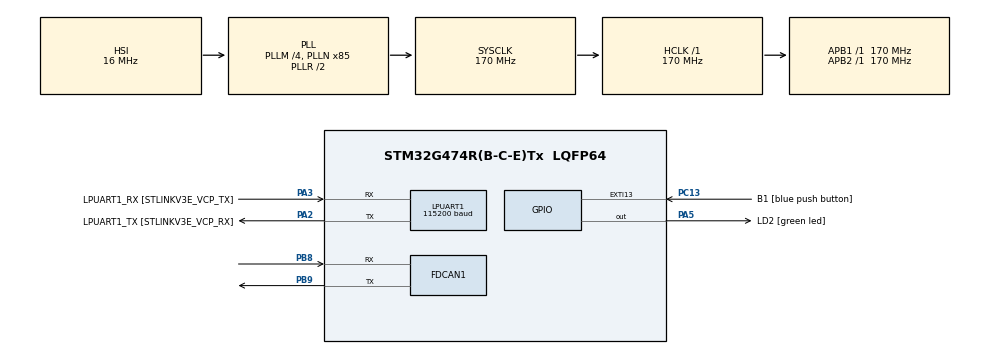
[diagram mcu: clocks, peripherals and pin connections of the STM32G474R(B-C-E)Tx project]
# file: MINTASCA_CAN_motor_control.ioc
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FDCAN1.CalculateBaudRateNominal=999999
FDCAN1.CalculateTimeBitNominal=1000
FDCAN1.CalculateTimeQuantumNominal=58.82352941176471
FDCAN1.ClockDivider=FDCAN_CLOCK_DIV1
FDCAN1.NominalPrescaler=10
FDCAN1.NominalTimeSeg1=13
FDCAN1.NominalTimeSeg2=3
LPUART1.BaudRate=115200
Mcu.Family=STM32G4
Mcu.Name=STM32G474R(B-C-E)Tx
Mcu.Package=LQFP64
NVIC.EXTI15_10_IRQn=true\:0\:0\:false\:false\:true\:true\:true\:true
NVIC.FDCAN1_IT0_IRQn=true\:0\:0\:false\:false\:true\:true\:true\:true
NVIC.FDCAN1_IT1_IRQn=true\:0\:0\:false\:false\:true\:true\:true\:true
NVIC.LPUART1_IRQn=true\:0\:0\:false\:false\:true\:true\:true\:true
NVIC.PriorityGroup=NVIC_PRIORITYGROUP_4
PA13.GPIO_Label=T_SWDIO
PA13.Signal=SYS_JTMS-SWDIO
PA14.GPIO_Label=T_SWCLK
PA14.Signal=SYS_JTCK-SWCLK
PA2.GPIO_Label=LPUART1_TX [STLINKV3E_VCP_RX]
PA2.Mode=Asynchronous
PA2.Signal=LPUART1_TX
PA3.GPIO_Label=LPUART1_RX [STLINKV3E_VCP_TX]
PA3.Mode=Asynchronous
PA3.Signal=LPUART1_RX
PA5.GPIO_Label=LD2 [green led]
PA5.Signal=GPIO_Output
PB3.GPIO_Label=T_SWO
PB3.Signal=SYS_JTDO-SWO
PB8-BOOT0.Mode=FDCAN_Activate
PB8-BOOT0.Signal=FDCAN1_RX
PB9.Mode=FDCAN_Activate
PB9.Signal=FDCAN1_TX
PC13.GPIO_Label=B1 [blue push button]
PC13.Signal=GPXTI13
PC14-OSC32_IN.GPIO_Label=RCC_OSC32_IN
PC14-OSC32_IN.Signal=RCC_OSC32_IN
PC15-OSC32_OUT.GPIO_Label=RCC_OSC32_OUT
PC15-OSC32_OUT.Signal=RCC_OSC32_OUT
PF0-OSC_IN.GPIO_Label=RCC_OSC_IN
PF0-OSC_IN.Signal=RCC_OSC_IN
PF1-OSC_OUT.GPIO_Label=RCC_OSC_OUT
PF1-OSC_OUT.Signal=RCC_OSC_OUT
ProjectManager.HeapSize=0x200
ProjectManager.StackSize=0x400
ProjectManager.TargetToolchain=STM32CubeIDE
RCC.ADC12Freq_Value=170000000
RCC.ADC345Freq_Value=170000000
RCC.AHBFreq_Value=170000000
RCC.APB1Freq_Value=170000000
RCC.APB1TimFreq_Value=170000000
RCC.APB2Freq_Value=170000000
RCC.APB2TimFreq_Value=170000000
RCC.CortexFreq_Value=170000000
RCC.EXTERNAL_CLOCK_VALUE=12288000
RCC.HCLKFreq_Value=170000000
RCC.HSE_VALUE=24000000
RCC.HSI48_VALUE=48000000
RCC.HSI_VALUE=16000000
RCC.LSE_VALUE=32768
RCC.PLLM=RCC_PLLM_DIV4
RCC.PLLN=85
RCC.RTCClockSelection=RCC_RTCCLKSOURCE_LSE
RCC.SYSCLKFreq_VALUE=170000000
RCC.SYSCLKSource=RCC_SYSCLKSOURCE_PLLCLK
RCC.USBFreq_Value=170000000
RCC.VCOOutputFreq_Value=340000000
VP_SYS_VS_DBSignals.Mode=DisableDeadBatterySignals
board=NUCLEO-G474RE

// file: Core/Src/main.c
/* USER CODE BEGIN Header */
/**
  ******************************************************************************
  * @file           : main.c
  * @brief          : Main program body
  ******************************************************************************
  * @attention
  *
  * Copyright (c) 2025 STMicroelectronics.
  * All rights reserved.
  *
  * This software is licensed under terms that can be found in the LICENSE file
  * in the root directory of this software component.
  * If no LICENSE file comes with this software, it is provided AS-IS.
  *
  ******************************************************************************
  */
/* USER CODE END Header */
#include "main.h"

/* USER CODE BEGIN Includes */
#include <string.h> // memset, strlen 등 사용을 위해 추가
#include <stdio.h>  // sscanf 사용을 위해 추가
/* USER CODE END Includes */

FDCAN_HandleTypeDef hfdcan1;

UART_HandleTypeDef hlpuart1;

/* USER CODE BEGIN PV */
FDCAN_RxHeaderTypeDef RxHeader;
uint8_t CANRxData[8];
FDCAN_TxHeaderTypeDef TxHeader;
uint8_t CANTxData[8];

uint8_t LPUARTRxData;

#define UART_RX_BUFFER_SIZE 100
uint8_t uart_rx_buffer[UART_RX_BUFFER_SIZE];
uint16_t uart_rx_index = 0;
volatile uint8_t command_received_flag = 0;
/* USER CODE END PV */

void SystemClock_Config(void);
static void MX_GPIO_Init(void);
static void MX_FDCAN1_Init(void);
static void MX_LPUART1_UART_Init(void);
/* USER CODE BEGIN PFP */
static void FDCAN_Config(void);
/* USER CODE END PFP */

int main(void)
{

  /* MCU Configuration--------------------------------------------------------*/

  /* Reset of all peripherals, Initializes the Flash interface and the Systick. */
  HAL_Init();

  /* Configure the system clock */
  SystemClock_Config();

  /* Initialize all configured peripherals */
  MX_GPIO_Init();
  MX_FDCAN1_Init();
  MX_LPUART1_UART_Init();
  /* USER CODE BEGIN 2 */
  FDCAN_Config();
  HAL_UART_Receive_IT(&hlpuart1, &LPUARTRxData, 1);
  /* USER CODE END 2 */

  /* Infinite loop */
  /* USER CODE BEGIN WHILE */
  while (1)
  {
    if (command_received_flag)
    {
      command_received_flag = 0; // 플래그 초기화

      unsigned int id, dlc;
      unsigned int data[8] = {0};

      // sscanf를 사용하여 문자열 파싱
      // 예: "1A0 8 11 22 33 44 55 66 77 88"
      int parsed_count = sscanf((char*)uart_rx_buffer, "%x %u %x %x %x %x %x %x %x %x",
                                &id, &dlc, &data[0], &data[1], &data[2], &data[3],
                                &data[4], &data[5], &data[6], &data[7]);

      // 최소 ID와 DLC는 파싱되어야 함 (parsed_count >= 2)
      if (parsed_count >= 2 && dlc <= 8)
      {
        // FDCAN TxHeader 설정
        TxHeader.Identifier = id;
        TxHeader.IdType = FDCAN_STANDARD_ID;
        TxHeader.TxFrameType = FDCAN_DATA_FRAME;

        // DLC 값에 따라 DataLength 설정
        switch(dlc) {
            case 0: TxHeader.DataLength = FDCAN_DLC_BYTES_0; break;
            case 1: TxHeader.DataLength = FDCAN_DLC_BYTES_1; break;
            case 2: TxHeader.DataLength = FDCAN_DLC_BYTES_2; break;
            case 3: TxHeader.DataLength = FDCAN_DLC_BYTES_3; break;
            case 4: TxHeader.DataLength = FDCAN_DLC_BYTES_4; break;
            case 5: TxHeader.DataLength = FDCAN_DLC_BYTES_5; break;
            case 6: TxHeader.DataLength = FDCAN_DLC_BYTES_6; break;
            case 7: TxHeader.DataLength = FDCAN_DLC_BYTES_7; break;
            case 8: TxHeader.DataLength = FDCAN_DLC_BYTES_8; break;
            default: TxHeader.DataLength = FDCAN_DLC_BYTES_0; break;
        }

        // 전송 데이터(CANTxData) 준비
        for (int i = 0; i < dlc; i++)
        {
          CANTxData[i] = (uint8_t)data[i];
        }

        // FDCAN 메시지 전송
        if (HAL_FDCAN_AddMessageToTxFifoQ(&hfdcan1, &TxHeader, CANTxData) == HAL_OK)
        {
          // 성공 시 LD2 LED 토글 (전송 확인용)
          HAL_GPIO_TogglePin(LD2_GPIO_Port, LD2_Pin);
          HAL_Delay(100);
          HAL_GPIO_TogglePin(LD2_GPIO_Port, LD2_Pin);
        }
      }

      // 다음 명령어를 위해 버퍼 초기화
      memset(uart_rx_buffer, 0, UART_RX_BUFFER_SIZE);
    }
    /* USER CODE END WHILE */

  }
}

void SystemClock_Config(void)
{
  RCC_OscInitTypeDef RCC_OscInitStruct = {0};
  RCC_ClkInitTypeDef RCC_ClkInitStruct = {0};

  /** Configure the main internal regulator output voltage
  */
  HAL_PWREx_ControlVoltageScaling(PWR_REGULATOR_VOLTAGE_SCALE1_BOOST);

  /** Initializes the RCC Oscillators according to the specified parameters
  * in the RCC_OscInitTypeDef structure.
  */
  RCC_OscInitStruct.OscillatorType = RCC_OSCILLATORTYPE_HSI;
  RCC_OscInitStruct.HSIState = RCC_HSI_ON;
  RCC_OscInitStruct.HSICalibrationValue = RCC_HSICALIBRATION_DEFAULT;
  RCC_OscInitStruct.PLL.PLLState = RCC_PLL_ON;
  RCC_OscInitStruct.PLL.PLLSource = RCC_PLLSOURCE_HSI;
  RCC_OscInitStruct.PLL.PLLM = RCC_PLLM_DIV4;
  RCC_OscInitStruct.PLL.PLLN = 85;
  RCC_OscInitStruct.PLL.PLLP = RCC_PLLP_DIV2;
  RCC_OscInitStruct.PLL.PLLQ = RCC_PLLQ_DIV2;
  RCC_OscInitStruct.PLL.PLLR = RCC_PLLR_DIV2;
  if (HAL_RCC_OscConfig(&RCC_OscInitStruct) != HAL_OK)
  {
    Error_Handler();
  }

  /** Initializes the CPU, AHB and APB buses clocks
  */
  RCC_ClkInitStruct.ClockType = RCC_CLOCKTYPE_HCLK|RCC_CLOCKTYPE_SYSCLK
                              |RCC_CLOCKTYPE_PCLK1|RCC_CLOCKTYPE_PCLK2;
  RCC_ClkInitStruct.SYSCLKSource = RCC_SYSCLKSOURCE_PLLCLK;
  RCC_ClkInitStruct.AHBCLKDivider = RCC_SYSCLK_DIV1;
  RCC_ClkInitStruct.APB1CLKDivider = RCC_HCLK_DIV1;
  RCC_ClkInitStruct.APB2CLKDivider = RCC_HCLK_DIV1;

  if (HAL_RCC_ClockConfig(&RCC_ClkInitStruct, FLASH_LATENCY_4) != HAL_OK)
  {
    Error_Handler();
  }
}

static void MX_FDCAN1_Init(void)
{

  hfdcan1.Instance = FDCAN1;
  hfdcan1.Init.ClockDivider = FDCAN_CLOCK_DIV1;
  hfdcan1.Init.FrameFormat = FDCAN_FRAME_CLASSIC;
  hfdcan1.Init.Mode = FDCAN_MODE_NORMAL;
  hfdcan1.Init.AutoRetransmission = DISABLE;
  hfdcan1.Init.TransmitPause = DISABLE;
  hfdcan1.Init.ProtocolException = DISABLE;
  hfdcan1.Init.NominalPrescaler = 10;
  hfdcan1.Init.NominalSyncJumpWidth = 1;
  hfdcan1.Init.NominalTimeSeg1 = 13;
  hfdcan1.Init.NominalTimeSeg2 = 3;
  hfdcan1.Init.DataPrescaler = 1;
  hfdcan1.Init.DataSyncJumpWidth = 1;
  hfdcan1.Init.DataTimeSeg1 = 1;
  hfdcan1.Init.DataTimeSeg2 = 1;
  hfdcan1.Init.StdFiltersNbr = 0;
  hfdcan1.Init.ExtFiltersNbr = 0;
  hfdcan1.Init.TxFifoQueueMode = FDCAN_TX_FIFO_OPERATION;
  if (HAL_FDCAN_Init(&hfdcan1) != HAL_OK)
  {
    Error_Handler();
  }

}

static void MX_LPUART1_UART_Init(void)
{

  hlpuart1.Instance = LPUART1;
  hlpuart1.Init.BaudRate = 115200;
  hlpuart1.Init.WordLength = UART_WORDLENGTH_8B;
  hlpuart1.Init.StopBits = UART_STOPBITS_1;
  hlpuart1.Init.Parity = UART_PARITY_NONE;
  hlpuart1.Init.Mode = UART_MODE_TX_RX;
  hlpuart1.Init.HwFlowCtl = UART_HWCONTROL_NONE;
  hlpuart1.Init.OneBitSampling = UART_ONE_BIT_SAMPLE_DISABLE;
  hlpuart1.Init.ClockPrescaler = UART_PRESCALER_DIV1;
  hlpuart1.AdvancedInit.AdvFeatureInit = UART_ADVFEATURE_NO_INIT;
  if (HAL_UART_Init(&hlpuart1) != HAL_OK)
  {
    Error_Handler();
  }
  if (HAL_UARTEx_SetTxFifoThreshold(&hlpuart1, UART_TXFIFO_THRESHOLD_1_8) != HAL_OK)
  {
    Error_Handler();
  }
  if (HAL_UARTEx_SetRxFifoThreshold(&hlpuart1, UART_RXFIFO_THRESHOLD_1_8) != HAL_OK)
  {
    Error_Handler();
  }
  if (HAL_UARTEx_DisableFifoMode(&hlpuart1) != HAL_OK)
  {
    Error_Handler();
  }

}

static void MX_GPIO_Init(void)
{
  GPIO_InitTypeDef GPIO_InitStruct = {0};

  /* GPIO Ports Clock Enable */
  __HAL_RCC_GPIOC_CLK_ENABLE();
  __HAL_RCC_GPIOF_CLK_ENABLE();
  __HAL_RCC_GPIOA_CLK_ENABLE();
  __HAL_RCC_GPIOB_CLK_ENABLE();

  /*Configure GPIO pin Output Level */
  HAL_GPIO_WritePin(LD2_GPIO_Port, LD2_Pin, GPIO_PIN_RESET);

  /*Configure GPIO pin : B1_Pin */
  GPIO_InitStruct.Pin = B1_Pin;
  GPIO_InitStruct.Mode = GPIO_MODE_IT_RISING;
  GPIO_InitStruct.Pull = GPIO_NOPULL;
  HAL_GPIO_Init(B1_GPIO_Port, &GPIO_InitStruct);

  /*Configure GPIO pin : LD2_Pin */
  GPIO_InitStruct.Pin = LD2_Pin;
  GPIO_InitStruct.Mode = GPIO_MODE_OUTPUT_PP;
  GPIO_InitStruct.Pull = GPIO_NOPULL;
  GPIO_InitStruct.Speed = GPIO_SPEED_FREQ_LOW;
  HAL_GPIO_Init(LD2_GPIO_Port, &GPIO_InitStruct);

  /* EXTI interrupt init*/
  HAL_NVIC_SetPriority(EXTI15_10_IRQn, 0, 0);
  HAL_NVIC_EnableIRQ(EXTI15_10_IRQn);

}

/* USER CODE BEGIN 4 */

/**
 * @brief FDCAN1 설정
 */
static void FDCAN_Config(void) {
    FDCAN_FilterTypeDef sFilterConfig;

    /*Rx Filter*/
    sFilterConfig.IdType = FDCAN_STANDARD_ID;
    sFilterConfig.FilterIndex = 0;
    sFilterConfig.FilterType = FDCAN_FILTER_RANGE;
    sFilterConfig.FilterID1 = 0xD4; // 제공받은 모터 CAN ID: 212 = 0xD4
    sFilterConfig.FilterID2 = 0x7FF;

    /*Error Handle*/
    if (HAL_FDCAN_ConfigFilter(&hfdcan1, &sFilterConfig) != HAL_OK) Error_Handler();
    if (HAL_FDCAN_Start(&hfdcan1) != HAL_OK) Error_Handler();
    if (HAL_FDCAN_ActivateNotification(&hfdcan1, FDCAN_IT_RX_FIFO0_NEW_MESSAGE, 0) != HAL_OK) Error_Handler();

    /*TxHeader*/
    TxHeader.Identifier = 0x01; // 제어장치 ID: 1
    TxHeader.IdType = FDCAN_STANDARD_ID;
    TxHeader.TxFrameType = FDCAN_DATA_FRAME;
    TxHeader.DataLength = FDCAN_DLC_BYTES_8;
    TxHeader.ErrorStateIndicator = FDCAN_ESI_PASSIVE;
    TxHeader.BitRateSwitch = FDCAN_BRS_OFF;
    TxHeader.FDFormat = FDCAN_CLASSIC_CAN;
    TxHeader.TxEventFifoControl = FDCAN_NO_TX_EVENTS;
    TxHeader.MessageMarker = 0;
}

/**
 * @brief  FDCAN DataLength 코드를 실제 바이트 수로 변환
 * @param  DataLength FDCAN_RxHeaderTypeDef의 DataLength 필드
 * @retval uint8_t 실제 데이터 바이트 수 (0-8)
 */
static uint8_t DLC_decoder(uint32_t DataLength)
{
    switch(DataLength)
    {
        case FDCAN_DLC_BYTES_0: return 0;
        case FDCAN_DLC_BYTES_1: return 1;
        case FDCAN_DLC_BYTES_2: return 2;
        case FDCAN_DLC_BYTES_3: return 3;
        case FDCAN_DLC_BYTES_4: return 4;
        case FDCAN_DLC_BYTES_5: return 5;
        case FDCAN_DLC_BYTES_6: return 6;
        case FDCAN_DLC_BYTES_7: return 7;
        case FDCAN_DLC_BYTES_8: return 8;
        default: return 0;
    }
}

/**
 * @brief FDCAN1 인터럽트 수신받은 걸 LPUART로 전송
 */
void HAL_FDCAN_RxFifo0Callback(FDCAN_HandleTypeDef *hfdcan, uint32_t RxFifo0ITs)
{
    if ((RxFifo0ITs & FDCAN_IT_RX_FIFO0_NEW_MESSAGE) != RESET)
    {
        if (HAL_FDCAN_GetRxMessage(hfdcan, FDCAN_RX_FIFO0, &RxHeader, CANRxData) != HAL_OK)
        {
            Error_Handler();
        }

        static char tx_buf[100]; // UART 전송을 위한 버퍼
        int len = 0; // 버퍼에 쓰여진 길이
        uint8_t dlc = DLC_decoder(RxHeader.DataLength); // DLC 값을 바이트 수로 변환

        // "ID: 0x123, DLC: 8, Data: " 부분 생성
        len += sprintf(tx_buf + len, "ID: %#04lX, DLC: %u, Data: ",
                       (unsigned long)RxHeader.Identifier, (unsigned int)dlc);

        // 수신된 데이터를 16진수 문자열로 변환
        for (int i = 0; i < dlc; i++)
        {
            len += sprintf(tx_buf + len, "%02X ", CANRxData[i]);
        }

        len += sprintf(tx_buf + len, "\r\n"); // 줄바꿈 추가

        // 3. UART 전송 1회만 호출
        HAL_UART_Transmit_IT(&hlpuart1, (uint8_t*)tx_buf, len);
    }
}

/**
  * @brief  UART 수신 완료 콜백
  * @param  huart UART 핸들
  * @retval None
  */
void HAL_UART_RxCpltCallback(UART_HandleTypeDef *huart)
{
  if (huart->Instance == LPUART1)
  {
    // --- 수정된 에코 및 줄바꿈 로직 ---
    if (LPUARTRxData == '\r') // Enter(CR) 키를 수신한 경우
    {
        // 터미널에 CR+LF(\r\n)를 보내 커서를 다음 줄 맨 앞으로 이동
        char newline[] = "\r\n";
        HAL_UART_Transmit_IT(&hlpuart1, (uint8_t*)newline, 2);
    }
    else if (LPUARTRxData != '\n') // Enter(LF) 키는 무시하고, 나머지 문자들은 에코
    {
        HAL_UART_Transmit_IT(&hlpuart1, &LPUARTRxData, 1);
    }

    // --- 명령어 버퍼링 및 플래그 처리 로직 ---
    if (LPUARTRxData == '\r' || LPUARTRxData == '\n') // Enter 키(CR 또는 LF)를 누르면
    {
        if (uart_rx_index > 0) // 버퍼에 내용이 있으면 명령어 처리 플래그 설정
        {
            uart_rx_buffer[uart_rx_index] = '\0';
            command_received_flag = 1;
        }
        uart_rx_index = 0; // 버퍼 내용 유무와 상관없이 인덱스는 항상 초기화
    }
    else if (LPUARTRxData == '\b' || LPUARTRxData == 127) // 백스페이스를 누르면
    {
        if (uart_rx_index > 0)
        {
            uart_rx_index--; // 버퍼 인덱스 감소
        }
    }
    else if (uart_rx_index < UART_RX_BUFFER_SIZE - 1) // 그 외 문자들은 버퍼에 저장
    {
      uart_rx_buffer[uart_rx_index++] = LPUARTRxData;
    }

    // 다시 1바이트 수신을 위해 인터럽트 활성화
    HAL_UART_Receive_IT(&hlpuart1, &LPUARTRxData, 1);
  }
}
/* USER CODE END 4 */

void Error_Handler(void)
{
  __disable_irq();
  while (1)
  {
  }
}
